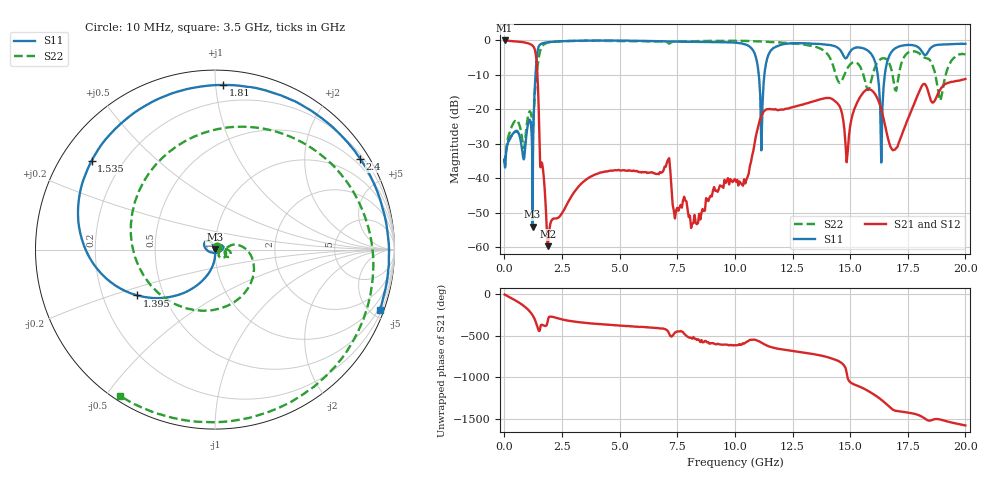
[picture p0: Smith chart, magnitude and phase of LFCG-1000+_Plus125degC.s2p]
! Mini-Circuits
! S2P DATA File Format
! Type: LOW PASS FILTER
! Model: LFCG-1000+
! All S Parameters are in dB deg format
! TEST CONDITIONS: INPUT POWER = 0 dBm @ Temperature = +125deg C
# MHz S dB R 50
!Frequency  S11 dB  S11 DEG  S21 dB  S21 DEG  S12 dB  S12 DEG  S22 dB  S22 DEG
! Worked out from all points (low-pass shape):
!   682 points, 10 MHz to 20 GHz, reference 50 ohm
!   highest |S21| = -0.15 dB at 10 MHz (marker M1); lowest = -59.7 dB at 1.88 GHz (marker M2)
!   |S21| within 3 dB of the highest: start of sweep to 1.334 GHz
!   lowest |S11| = -54.0 dB at 1.225 GHz (marker M3), VSWR 1.00, Z = 49.8 + j0.12 ohm
!   |S11| at or under -10 dB: start of sweep to 1.351 GHz; 11.03 GHz to 11.28 GHz (247.6 MHz wide, 2.22 % of centre); 16.2 GHz to 16.51 GHz (311.2 MHz wide, 1.9 % of centre)
!   |S22| runs from -36.9 to -0.2 dB; largest |S21 - S12| = 0.0028
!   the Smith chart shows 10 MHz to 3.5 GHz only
!   S11 on the Smith chart (normalised r, x): 10 MHz: 1.02, +0.03; 1.395 GHz: 0.35, -0.24; 1.535 GHz: 0.09, +0.32; 1.81 GHz: 0.09, +1.05; 2.4 GHz: 0.31, +3.46; 3.5 GHz: 0.38, -5.60
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10  -34.90 57.9  -0.15 -1.8  -0.15 -2.0  -35.54 53.7
650  -27.68 2.7  -0.52 -101.6  -0.53 -101.6  -24.51 -53.0
1125  -23.42 134.2  -1.22 146.6  -1.23 146.6  -20.76 -23.1
1225  -54.04 142.8  -1.64 108.2  -1.65 108.2  -24.88 -19.8
1395  -5.97 -149.5  -6.06 -1.3  -6.06 -1.3  -9.89 -77.1
1535  -1.44 144.3  -32.05 -74.3  -32.06 -74.3  -3.58 92.3
1810  -0.74 87.2  -50.25 -18.4  -50.26 -18.3  -0.94 -13.5
1880  -0.67 78.1  -59.65 40.7  -59.71 39.7  -0.78 -26.0
2400  -0.41 32.1  -51.06 64.9  -51.09 64.7  -0.38 -78.6
3350  -0.22 -14.8  -41.48 21.1  -41.48 21.1  -0.25 -119.1
3500  -0.20 -20.2  -40.61 16.5  -40.62 16.5  -0.25 -123.2
6700  -0.36 -85.2  -38.86 -47.7  -38.88 -47.7  -0.42 -177.4
8250  -0.56 -112.9  -50.62 -174.3  -50.71 -175.2  -0.35 159.7
10050  -0.83 -156.9  -41.01 106.6  -41.03 106.4  -0.24 131.8
11200  -18.31 -72.7  -21.33 129.5  -21.34 129.4  -0.48 109.7
13350  -1.08 152.1  -17.88 2.0  -17.89 2.0  -1.73 39.5
14300  -1.73 119.3  -17.48 -63.1  -17.48 -63.2  -8.28 -60.2
14900  -4.61 125.1  -31.95 63.4  -31.95 63.3  -7.98 124.2
16150  -8.16 67.4  -16.45 -149.7  -16.45 -149.9  -6.90 161.5
16700  -4.57 174.1  -29.90 84.5  -29.91 84.3  -6.78 99.4
19100  -1.29 138.7  -12.86 -85.2  -12.87 -85.6  -11.26 -139.8
20000  -1.12 128.5  -11.30 -142.0  -11.31 -142.4  -4.21 136.6
